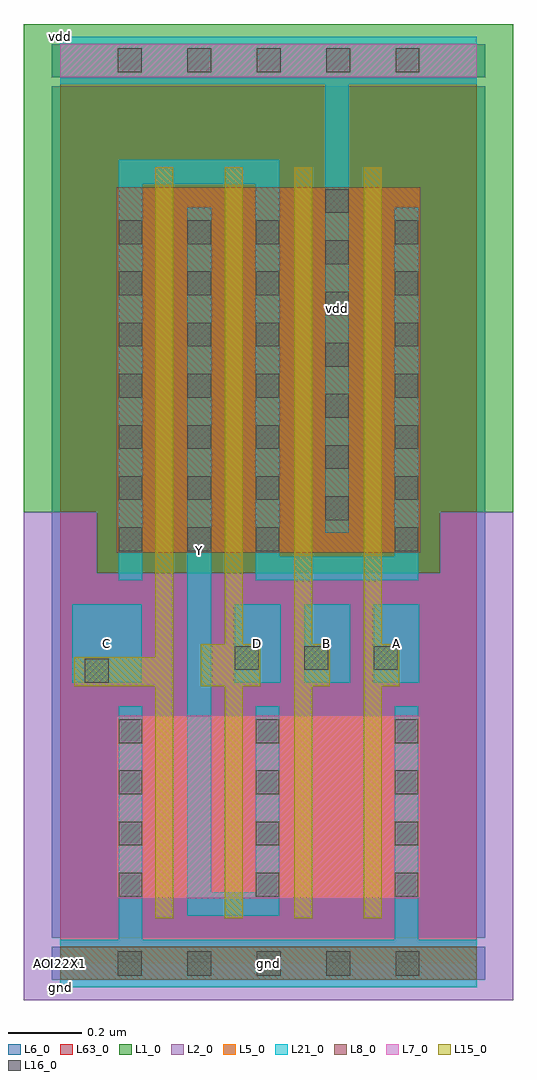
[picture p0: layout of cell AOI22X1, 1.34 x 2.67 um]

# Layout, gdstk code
import gdstk
lib = gdstk.Library(unit=1e-6, precision=1e-09)
def R(c, l, rs):  # rectangles x0, y0, x1, y1
    for r in rs: c.add(gdstk.rectangle(r[:2], r[2:], *l))
def A(c, l, x, y, w, h, nx, ny, dx, dy):  # array of equal rectangles
    R(c, l, [(x+i*dx, y+j*dy, x+i*dx+w, y+j*dy+h) for i in range(nx) for j in range(ny)])
def P(c, l, *ps):  # polygons
    for p in ps: c.add(gdstk.Polygon(p, *l))
L1_0 = (1, 0)
L2_0 = (2, 0)
L5_0 = (5, 0)
L6_0 = (6, 0)
L7_0 = (7, 0)
L8_0 = (8, 0)
L15_0 = (15, 0)
L16_0 = (16, 0)
L21_0 = (21, 0)
L63_0 = (63, 0)

aoi22x1 = lib.new_cell('AOI22X1')
P(aoi22x1, L1_0, [(1.24,1.235),(1.04,1.235),(1.04,1.068),(0.1,1.068),(0.1,1.235),(-0.1,1.235),(-0.1,2.57),(1.24,2.57)])
P(aoi22x1, L2_0, [(-0.1,1.235),(0.1,1.235),(0.1,1.068),(1.04,1.068),(1.04,1.235),(1.24,1.235),(1.24,-0.1),(-0.1,-0.1)])
A(aoi22x1, L5_0, 0.26, 0.178, 0.05, 0.5, 4, 1, 0.19, 0)
A(aoi22x1, L5_0, 0.31, 0.178, 0.14, 0.5, 3, 1, 0.19, 0)
A(aoi22x1, L5_0, 0.26, 1.123, 0.05, 1, 4, 1, 0.19, 0)
A(aoi22x1, L5_0, 0.31, 1.123, 0.14, 1, 3, 1, 0.19, 0)
R(aoi22x1, L5_0, [(0,-0.045,1.14,0.045), (0.155,0.178,0.26,0.678), (0.88,0.178,0.985,0.678), (0.155,1.123,0.26,2.123), (0.88,1.123,0.985,2.123), (0,2.425,1.14,2.515)])
R(aoi22x1, L6_0, [(-0.023,-0.045,1.163,0.045), (-0.023,-0.045,1.163,0.045), (-0.023,2.425,1.163,2.515), (-0.023,2.425,1.163,2.515)])
P(aoi22x1, L6_0, [(0.1,1.235),(0.1,1.068),(1.04,1.068),(1.04,1.235),(1.163,1.235),(1.163,0.07),(-0.023,0.07),(-0.023,1.235)],
  [(-0.023,1.235),(-0.023,2.4),(1.163,2.4),(1.163,1.235),(1.04,1.235),(1.04,1.068),(0.1,1.068),(0.1,1.235)])
A(aoi22x1, L7_0, 0.26, 0.178, 0.05, 0.5, 4, 1, 0.19, 0)
A(aoi22x1, L7_0, 0.31, 0.178, 0.14, 0.5, 3, 1, 0.19, 0)
R(aoi22x1, L7_0, [(0.155,0.178,0.26,0.678), (0.88,0.178,0.985,0.678), (0,2.425,1.14,2.515)])
A(aoi22x1, L8_0, 0.26, 1.123, 0.05, 1, 4, 1, 0.19, 0)
A(aoi22x1, L8_0, 0.31, 1.123, 0.14, 1, 3, 1, 0.19, 0)
R(aoi22x1, L8_0, [(0,-0.045,1.14,0.045), (0.155,1.123,0.26,2.123), (0.88,1.123,0.985,2.123)])
A(aoi22x1, L15_0, 0.26, 0.123, 0.05, 0.055, 4, 2, 0.19, 2)
A(aoi22x1, L15_0, 0.26, 0.178, 0.05, 0.5, 4, 1, 0.19, 0)
A(aoi22x1, L15_0, 0.26, 1.123, 0.05, 1, 4, 1, 0.19, 0)
P(aoi22x1, L15_0, [(0.26,0.758),(0.038,0.758),(0.038,0.838),(0.26,0.838),(0.26,1.123),(0.31,1.123),(0.31,0.678),(0.26,0.678)],
  [(0.45,0.758),(0.385,0.758),(0.385,0.873),(0.45,0.873),(0.45,1.123),(0.5,1.123),(0.5,0.873),(0.548,0.873),(0.548,0.758),(0.5,0.758),(0.5,0.678),(0.45,0.678)],
  [(0.64,1.123),(0.69,1.123),(0.69,0.873),(0.738,0.873),(0.738,0.758),(0.69,0.758),(0.69,0.678),(0.64,0.678)],
  [(0.83,1.123),(0.88,1.123),(0.88,0.873),(0.928,0.873),(0.928,0.758),(0.88,0.758),(0.88,0.678),(0.83,0.678)])
A(aoi22x1, L16_0, 0.158, -0.033, 0.065, 0.066, 5, 1, 0.19, 0)
A(aoi22x1, L16_0, 0.16, 0.183, 0.065, 0.065, 1, 4, 0, 0.14)
A(aoi22x1, L16_0, 0.535, 0.183, 0.065, 0.065, 1, 4, 0, 0.14)
A(aoi22x1, L16_0, 0.915, 0.183, 0.065, 0.065, 1, 4, 0, 0.14)
A(aoi22x1, L16_0, 0.478, 0.803, 0.065, 0.065, 3, 1, 0.19, 0)
A(aoi22x1, L16_0, 0.16, 1.128, 0.065, 0.065, 1, 7, 0, 0.14)
A(aoi22x1, L16_0, 0.348, 1.128, 0.065, 0.065, 1, 7, 0, 0.14)
A(aoi22x1, L16_0, 0.535, 1.128, 0.065, 0.065, 1, 7, 0, 0.14)
A(aoi22x1, L16_0, 0.915, 1.128, 0.065, 0.065, 1, 7, 0, 0.14)
A(aoi22x1, L16_0, 0.725, 1.213, 0.065, 0.065, 1, 7, 0, 0.14)
A(aoi22x1, L16_0, 0.158, 2.438, 0.065, 0.065, 5, 1, 0.19, 0)
R(aoi22x1, L16_0, [(0.068,0.768,0.133,0.833)])
A(aoi22x1, L21_0, 0.478, 0.768, 0.125, 0.215, 3, 1, 0.19, 0)
R(aoi22x1, L21_0, [(0.033,0.768,0.223,0.983)])
P(aoi22x1, L21_0, [(0,2.405),(0,2.535),(1.14,2.535),(1.14,2.405),(0.79,2.405),(0.79,1.178),(0.725,1.178),(0.725,2.405)],
  [(0.16,0.065),(0.16,0.703),(0.225,0.703),(0.225,0.065),(0.915,0.065),(0.915,0.703),(0.98,0.703),(0.98,0.065),(1.14,0.065),(1.14,-0.065),(0,-0.065),(0,0.065)],
  [(0.413,0.195),(0.535,0.195),(0.535,0.703),(0.6,0.703),(0.6,0.13),(0.348,0.13),(0.348,2.068),(0.413,2.068)],
  [(0.915,1.113),(0.915,2.068),(0.98,2.068),(0.98,1.048),(0.535,1.048),(0.535,2.133),(0.225,2.133),(0.225,1.048),(0.16,1.048),(0.16,2.198),(0.6,2.198),(0.6,1.113)])
R(aoi22x1, L63_0, [(0,0,1.14,2.47)])
aoi22x1.add(gdstk.Label('vdd', (0.758,1.791), layer=21, texttype=1))
aoi22x1.add(gdstk.Label('gnd', (0.57,0), layer=21, texttype=1))
aoi22x1.add(gdstk.Label('A', (0.92,0.875), layer=21, texttype=1))
aoi22x1.add(gdstk.Label('B', (0.73,0.875), layer=21, texttype=1))
aoi22x1.add(gdstk.Label('D', (0.54,0.875), layer=21, texttype=1))
aoi22x1.add(gdstk.Label('Y', (0.38,1.131), layer=21, texttype=1))
aoi22x1.add(gdstk.Label('C', (0.128,0.875), layer=21, texttype=1))
aoi22x1.add(gdstk.Label('vdd', (0,2.535), layer=21, texttype=2))
aoi22x1.add(gdstk.Label('gnd', (0,-0.065), layer=21, texttype=2))
aoi22x1.add(gdstk.Label('AOI22X1', (0,0), layer=63, texttype=1))

lib.write_gds('AOI22X1.gds')
